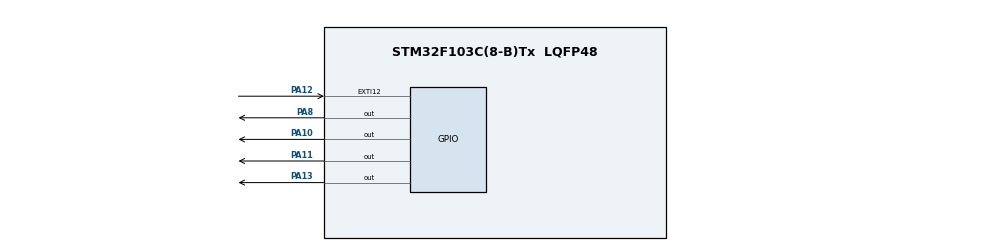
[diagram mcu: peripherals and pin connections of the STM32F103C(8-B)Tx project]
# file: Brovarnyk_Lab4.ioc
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Mcu.Family=STM32F1
Mcu.Name=STM32F103C(8-B)Tx
Mcu.Package=LQFP48
NVIC.EXTI15_10_IRQn=true\:0\:0\:false\:true\:true\:2\:true\:true
NVIC.PriorityGroup=NVIC_PRIORITYGROUP_4
NVIC.TIM2_IRQn=true\:0\:0\:false\:true\:true\:1\:true\:true
NVIC.TIM3_IRQn=true\:0\:0\:false\:true\:true\:3\:true\:true
NVIC.TIM4_IRQn=true\:0\:0\:false\:true\:true\:4\:true\:true
PA10.Signal=GPIO_Output
PA11.Signal=GPIO_Output
PA12.GPIO_ModeDefaultEXTI=GPIO_MODE_IT_RISING_FALLING
PA12.Signal=GPXTI12
PA13.Signal=GPIO_Output
PA8.Signal=GPIO_Output
ProjectManager.HeapSize=0x200
ProjectManager.StackSize=0x400
ProjectManager.TargetToolchain=STM32CubeIDE
RCC.APB1Freq_Value=8000000
RCC.APB2Freq_Value=8000000
TIM2.Period=200
TIM2.Prescaler=8000
TIM2.TIM_MasterOutputTrigger=TIM_TRGO_UPDATE
TIM3.Period=100
TIM3.Prescaler=8000
TIM3.TIM_MasterOutputTrigger=TIM_TRGO_UPDATE
TIM4.Period=400
TIM4.Prescaler=8000
TIM4.TIM_MasterOutputTrigger=TIM_TRGO_UPDATE
VP_SYS_VS_ND.Mode=No_Debug
VP_TIM2_VS_ClockSourceINT.Mode=Internal
VP_TIM3_VS_ClockSourceINT.Mode=Internal
VP_TIM4_VS_ClockSourceINT.Mode=Internal
board=custom

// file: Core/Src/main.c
/* USER CODE BEGIN Header */
/**
  ******************************************************************************
  * @file           : main.c
  * @brief          : Main program body
  ******************************************************************************
  * @attention
  *
  * Copyright (c) 2022 STMicroelectronics.
  * All rights reserved.
  *
  * This software is licensed under terms that can be found in the LICENSE file
  * in the root directory of this software component.
  * If no LICENSE file comes with this software, it is provided AS-IS.
  *
  ******************************************************************************
  */
/* USER CODE END Header */
#include "main.h"

TIM_HandleTypeDef htim2;
TIM_HandleTypeDef htim3;
TIM_HandleTypeDef htim4;

void SystemClock_Config(void);
static void MX_GPIO_Init(void);
static void MX_TIM2_Init(void);
static void MX_TIM3_Init(void);
static void MX_TIM4_Init(void);
static void MX_NVIC_Init(void);
/* USER CODE BEGIN PFP */
int state = 1;
/* USER CODE END PFP */

int main(void)
{

  /* MCU Configuration--------------------------------------------------------*/

  /* Reset of all peripherals, Initializes the Flash interface and the Systick. */
  HAL_Init();

  /* Configure the system clock */
  SystemClock_Config();

  /* Initialize all configured peripherals */
  MX_GPIO_Init();
  MX_TIM2_Init();
  MX_TIM3_Init();
  MX_TIM4_Init();

  /* Initialize interrupts */
  MX_NVIC_Init();
  /* USER CODE BEGIN 2 */
  HAL_TIM_Base_Start_IT(&htim2);
  HAL_TIM_Base_Start_IT(&htim3);
  HAL_TIM_Base_Start_IT(&htim4);
  /* USER CODE END 2 */

  /* Infinite loop */
  /* USER CODE BEGIN WHILE */
  while (1)
  {
	HAL_GPIO_TogglePin(GPIOA, GPIO_PIN_13);
	HAL_Delay(500);
    /* USER CODE END WHILE */

  }
}

void SystemClock_Config(void)
{
  RCC_OscInitTypeDef RCC_OscInitStruct = {0};
  RCC_ClkInitTypeDef RCC_ClkInitStruct = {0};

  /** Initializes the RCC Oscillators according to the specified parameters
  * in the RCC_OscInitTypeDef structure.
  */
  RCC_OscInitStruct.OscillatorType = RCC_OSCILLATORTYPE_HSI;
  RCC_OscInitStruct.HSIState = RCC_HSI_ON;
  RCC_OscInitStruct.HSICalibrationValue = RCC_HSICALIBRATION_DEFAULT;
  RCC_OscInitStruct.PLL.PLLState = RCC_PLL_NONE;
  if (HAL_RCC_OscConfig(&RCC_OscInitStruct) != HAL_OK)
  {
    Error_Handler();
  }
  /** Initializes the CPU, AHB and APB buses clocks
  */
  RCC_ClkInitStruct.ClockType = RCC_CLOCKTYPE_HCLK|RCC_CLOCKTYPE_SYSCLK
                              |RCC_CLOCKTYPE_PCLK1|RCC_CLOCKTYPE_PCLK2;
  RCC_ClkInitStruct.SYSCLKSource = RCC_SYSCLKSOURCE_HSI;
  RCC_ClkInitStruct.AHBCLKDivider = RCC_SYSCLK_DIV1;
  RCC_ClkInitStruct.APB1CLKDivider = RCC_HCLK_DIV1;
  RCC_ClkInitStruct.APB2CLKDivider = RCC_HCLK_DIV1;

  if (HAL_RCC_ClockConfig(&RCC_ClkInitStruct, FLASH_LATENCY_0) != HAL_OK)
  {
    Error_Handler();
  }
}

/**
  * @brief NVIC Configuration.
  * @retval None
  */
static void MX_NVIC_Init(void)
{
  /* TIM2_IRQn interrupt configuration */
  HAL_NVIC_SetPriority(TIM2_IRQn, 0, 0);
  HAL_NVIC_EnableIRQ(TIM2_IRQn);
  /* EXTI15_10_IRQn interrupt configuration */
  HAL_NVIC_SetPriority(EXTI15_10_IRQn, 0, 0);
  HAL_NVIC_EnableIRQ(EXTI15_10_IRQn);
  /* TIM3_IRQn interrupt configuration */
  HAL_NVIC_SetPriority(TIM3_IRQn, 0, 0);
  HAL_NVIC_EnableIRQ(TIM3_IRQn);
  /* TIM4_IRQn interrupt configuration */
  HAL_NVIC_SetPriority(TIM4_IRQn, 0, 0);
  HAL_NVIC_EnableIRQ(TIM4_IRQn);
}

static void MX_TIM2_Init(void)
{

  TIM_ClockConfigTypeDef sClockSourceConfig = {0};
  TIM_MasterConfigTypeDef sMasterConfig = {0};

  htim2.Instance = TIM2;
  htim2.Init.Prescaler = 8000;
  htim2.Init.CounterMode = TIM_COUNTERMODE_UP;
  htim2.Init.Period = 200;
  htim2.Init.ClockDivision = TIM_CLOCKDIVISION_DIV1;
  htim2.Init.AutoReloadPreload = TIM_AUTORELOAD_PRELOAD_DISABLE;
  if (HAL_TIM_Base_Init(&htim2) != HAL_OK)
  {
    Error_Handler();
  }
  sClockSourceConfig.ClockSource = TIM_CLOCKSOURCE_INTERNAL;
  if (HAL_TIM_ConfigClockSource(&htim2, &sClockSourceConfig) != HAL_OK)
  {
    Error_Handler();
  }
  sMasterConfig.MasterOutputTrigger = TIM_TRGO_UPDATE;
  sMasterConfig.MasterSlaveMode = TIM_MASTERSLAVEMODE_DISABLE;
  if (HAL_TIMEx_MasterConfigSynchronization(&htim2, &sMasterConfig) != HAL_OK)
  {
    Error_Handler();
  }

}

static void MX_TIM3_Init(void)
{

  TIM_ClockConfigTypeDef sClockSourceConfig = {0};
  TIM_MasterConfigTypeDef sMasterConfig = {0};

  htim3.Instance = TIM3;
  htim3.Init.Prescaler = 8000;
  htim3.Init.CounterMode = TIM_COUNTERMODE_UP;
  htim3.Init.Period = 100;
  htim3.Init.ClockDivision = TIM_CLOCKDIVISION_DIV1;
  htim3.Init.AutoReloadPreload = TIM_AUTORELOAD_PRELOAD_DISABLE;
  if (HAL_TIM_Base_Init(&htim3) != HAL_OK)
  {
    Error_Handler();
  }
  sClockSourceConfig.ClockSource = TIM_CLOCKSOURCE_INTERNAL;
  if (HAL_TIM_ConfigClockSource(&htim3, &sClockSourceConfig) != HAL_OK)
  {
    Error_Handler();
  }
  sMasterConfig.MasterOutputTrigger = TIM_TRGO_UPDATE;
  sMasterConfig.MasterSlaveMode = TIM_MASTERSLAVEMODE_DISABLE;
  if (HAL_TIMEx_MasterConfigSynchronization(&htim3, &sMasterConfig) != HAL_OK)
  {
    Error_Handler();
  }

}

static void MX_TIM4_Init(void)
{

  TIM_ClockConfigTypeDef sClockSourceConfig = {0};
  TIM_MasterConfigTypeDef sMasterConfig = {0};

  htim4.Instance = TIM4;
  htim4.Init.Prescaler = 8000;
  htim4.Init.CounterMode = TIM_COUNTERMODE_UP;
  htim4.Init.Period = 400;
  htim4.Init.ClockDivision = TIM_CLOCKDIVISION_DIV1;
  htim4.Init.AutoReloadPreload = TIM_AUTORELOAD_PRELOAD_DISABLE;
  if (HAL_TIM_Base_Init(&htim4) != HAL_OK)
  {
    Error_Handler();
  }
  sClockSourceConfig.ClockSource = TIM_CLOCKSOURCE_INTERNAL;
  if (HAL_TIM_ConfigClockSource(&htim4, &sClockSourceConfig) != HAL_OK)
  {
    Error_Handler();
  }
  sMasterConfig.MasterOutputTrigger = TIM_TRGO_UPDATE;
  sMasterConfig.MasterSlaveMode = TIM_MASTERSLAVEMODE_DISABLE;
  if (HAL_TIMEx_MasterConfigSynchronization(&htim4, &sMasterConfig) != HAL_OK)
  {
    Error_Handler();
  }

}

static void MX_GPIO_Init(void)
{
  GPIO_InitTypeDef GPIO_InitStruct = {0};

  /* GPIO Ports Clock Enable */
  __HAL_RCC_GPIOA_CLK_ENABLE();

  /*Configure GPIO pin Output Level */
  HAL_GPIO_WritePin(GPIOA, GPIO_PIN_8|GPIO_PIN_10|GPIO_PIN_11|GPIO_PIN_13, GPIO_PIN_RESET);

  /*Configure GPIO pins : PA8 PA10 PA11 PA13 */
  GPIO_InitStruct.Pin = GPIO_PIN_8|GPIO_PIN_10|GPIO_PIN_11|GPIO_PIN_13;
  GPIO_InitStruct.Mode = GPIO_MODE_OUTPUT_PP;
  GPIO_InitStruct.Pull = GPIO_NOPULL;
  GPIO_InitStruct.Speed = GPIO_SPEED_FREQ_LOW;
  HAL_GPIO_Init(GPIOA, &GPIO_InitStruct);

  /*Configure GPIO pin : PA12 */
  GPIO_InitStruct.Pin = GPIO_PIN_12;
  GPIO_InitStruct.Mode = GPIO_MODE_IT_RISING_FALLING;
  GPIO_InitStruct.Pull = GPIO_NOPULL;
  HAL_GPIO_Init(GPIOA, &GPIO_InitStruct);

}

/* USER CODE BEGIN 4 */
void HAL_TIM_PeriodElapsedCallback(TIM_HandleTypeDef *htim)
{
	if(htim->Instance == TIM2)
	{
		HAL_GPIO_TogglePin(GPIOA, GPIO_PIN_8);
	}
	if(htim->Instance == TIM3)
	{
			HAL_GPIO_TogglePin(GPIOA, GPIO_PIN_11);
	}
	if(htim->Instance == TIM4)
	{
			HAL_GPIO_TogglePin(GPIOA, GPIO_PIN_10);
	}
}

void HAL_GPIO_EXTI_Callback(uint16_t GPIO_Pin)
{
	if(GPIO_Pin == GPIO_PIN_12)
	{
		if(HAL_GPIO_ReadPin(GPIOA, GPIO_PIN_12) == GPIO_PIN_SET)
		{
			HAL_NVIC_DisableIRQ(TIM2_IRQn);
			HAL_NVIC_DisableIRQ(TIM3_IRQn);
			HAL_NVIC_DisableIRQ(TIM4_IRQn);
		}
		else
		{
			HAL_NVIC_EnableIRQ(TIM2_IRQn);
			HAL_NVIC_EnableIRQ(TIM3_IRQn);
			HAL_NVIC_EnableIRQ(TIM4_IRQn);
		}
	}
}
/* USER CODE END 4 */

void Error_Handler(void)
{
  __disable_irq();
  while (1)
  {
  }
}
